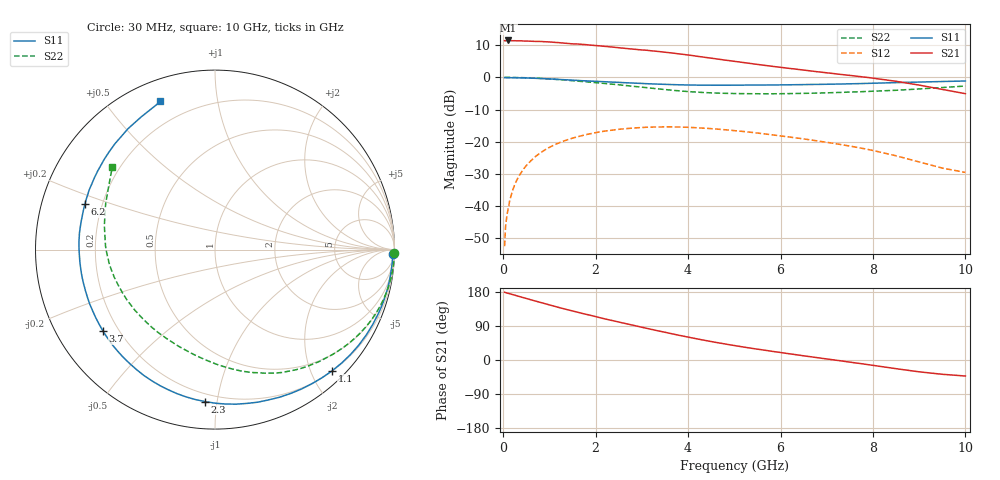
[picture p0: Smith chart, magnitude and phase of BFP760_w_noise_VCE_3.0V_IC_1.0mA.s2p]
! Infineon Technologies  Discrete & RF Semiconductors
! BFP760
! VCE =  3.0 V,  IC =  1.0 mA
! Common Emitter S-Parameters:  Nov 2012
# GHz  S  MA  R  50
!  f  S11  S21  S12  S22
! GHz  MAG  ANG  MAG  ANG  MAG  ANG  MAG  ANG
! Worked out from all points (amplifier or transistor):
!   99 points, 30 MHz to 10 GHz, reference 50 ohm
!   highest |S21| = 11.5 dB at 110 MHz (marker M1)
!   |S21| within 3 dB of that: start of sweep to 3.059 GHz
!   unconditionally stable (mu >= 1): 7.64 GHz to end of sweep
!   at 350 MHz: K = 0.04, MSG = 20.9 dB, |S12| = -30.4 dB
!   at 3.5 GHz: K = 0.28, MSG = 11.6 dB, |S12| = -15.4 dB
!   at 10 GHz: K = 2.19, MAG = 6.0 dB, |S12| = -29.5 dB
!   lowest NFmin = 0.56 dB at 900 MHz
!   S11 on the Smith chart (normalised r, x): 30 MHz: 27, -72; 1.1 GHz: 0.20, -2.34; 2.3 GHz: 0.15, -0.93; 3.7 GHz: 0.14, -0.32; 6.2 GHz: 0.13, +0.17; 10 GHz: 0.10, +0.69
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0.03  0.991 -1.4  3.708 178.8  0.0024 89.3  1 -1.1
0.05  0.9901 -2.1  3.707 177.8  0.0048 94.6  0.9998 -1.3
0.11  0.9898 -4.6  3.744 175.8  0.0099 86.7  0.9994 -3.0
0.25  0.987 -10.5  3.71 171.1  0.0218 82.4  0.996 -6.8
0.45  0.9804 -18.9  3.665 164.0  0.0386 76.3  0.9888 -12.2
0.8  0.9617 -33.7  3.613 152.1  0.067 65.5  0.9646 -21.5
1.1  0.9389 -46.1  3.503 142.1  0.0892 56.5  0.9349 -29.5
1.4  0.914 -58.2  3.364 132.4  0.1083 47.9  0.9008 -37.0
1.7  0.8891 -70.3  3.262 123.2  0.1245 39.9  0.8642 -44.3
2.1  0.8626 -86.1  3.078 111.4  0.143 29.4  0.8166 -54.2
2.3  0.8485 -93.7  2.984 105.7  0.1499 24.3  0.7914 -58.9
2.8  0.8174 -112.1  2.75 92.0  0.1631 12.4  0.7285 -70.4
3.4  0.7838 -133.8  2.504 75.7  0.1702 -1.4  0.6583 -84.7
3.7  0.7718 -143.9  2.368 67.9  0.1701 -7.9  0.6275 -91.9
4.3  0.7573 -162.2  2.079 53.2  0.1635 -20.0  0.5839 -106.0
5.1  0.7581 178.6  1.739 36.2  0.1468 -33.6  0.5606 -122.9
6.2  0.768 160.6  1.377 16.2  0.1185 -47.9  0.5605 -144.6
6.7  0.7767 153.4  1.249 7.8  0.1058 -53.0  0.5687 -154.7
7.6  0.7981 139.7  1.053 -7.3  0.0835 -60.6  0.5953 -173.1
8.5  0.8299 125.7  0.87 -22.9  0.0607 -65.0  0.631 167.7
9  0.8463 119.0  0.759 -31.2  0.0487 -63.6  0.6616 157.0
10  0.8794 110.2  0.559 -42.3  0.0335 -45.6  0.7344 141.2
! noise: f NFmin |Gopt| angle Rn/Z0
0.9  0.56  0.74  29  0.39
1.8  0.75  0.67  58  0.32
2.4  0.89  0.62  78  0.27
3.5  1.15  0.59  110  0.18
5.5  1.87  0.54  -168  0.1
8  3.1  0.66  -111  0.7
